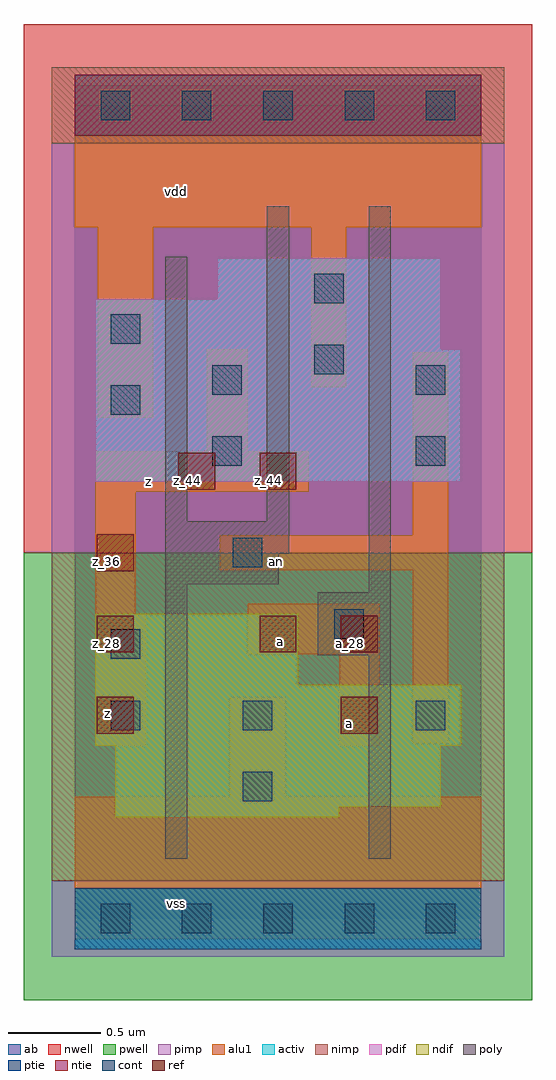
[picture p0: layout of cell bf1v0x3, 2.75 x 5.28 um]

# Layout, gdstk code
import gdstk
lib = gdstk.Library(unit=1e-6, precision=2.5e-09)
def R(c, l, rs):  # rectangles x0, y0, x1, y1
    for r in rs: c.add(gdstk.rectangle(r[:2], r[2:], *l))
def A(c, l, x, y, w, h, nx, ny, dx, dy):  # array of equal rectangles
    R(c, l, [(x+i*dx, y+j*dy, x+i*dx+w, y+j*dy+h) for i in range(nx) for j in range(ny)])
ndif = (3, 0)
pdif = (4, 0)
ntie = (5, 0)
ptie = (6, 0)
ref = (24, 0)
cont = (25, 0)
pwell = (41, 0)
nwell = (42, 0)
activ = (43, 0)
pimp = (44, 0)
nimp = (45, 0)
poly = (46, 0)
alu1 = (49, 0)
ab = (63, 0)

bf1v0x3 = lib.new_cell('bf1v0x3')
R(bf1v0x3, ndif, [(0.22,0.55,1.43,0.605), (0.22,0.605,1.98,0.935), (0.11,0.935,2.09,1.265), (0.11,1.265,1.21,1.65)])
R(bf1v0x3, pdif, [(0.11,2.365,2.09,3.08), (0.11,3.08,1.98,3.355), (0.77,3.355,1.98,3.575)])
R(bf1v0x3, ntie, [(0,4.235,2.2,4.565)])
R(bf1v0x3, ptie, [(0,-0.165,2.2,0.165)])
A(bf1v0x3, ref, 0.12, 1, 0.2, 0.2, 1, 3, 0, 0.44)
R(bf1v0x3, ref, [(1.44,1,1.64,1.2), (1,1.44,1.2,1.64), (1.44,1.44,1.64,1.64), (0.56,2.32,0.76,2.52), (1,2.32,1.2,2.52)])
A(bf1v0x3, cont, 0.14, -0.08, 0.16, 0.16, 5, 2, 0.44, 4.4)
R(bf1v0x3, cont, [(0.91,0.635,1.07,0.795), (0.195,1.02,0.355,1.18), (0.91,1.02,1.07,1.18), (1.845,1.02,2.005,1.18), (0.195,1.405,0.355,1.565), (1.405,1.515,1.565,1.675), (0.855,1.9,1.015,2.06), (0.745,2.45,0.905,2.61), (1.845,2.45,2.005,2.61), (0.195,2.725,0.355,2.885), (0.745,2.835,0.905,2.995), (1.845,2.835,2.005,2.995), (1.295,2.945,1.455,3.105), (0.195,3.11,0.355,3.27), (1.295,3.33,1.455,3.49)])
R(bf1v0x3, pwell, [(-0.275,-0.44,2.475,1.98)])
R(bf1v0x3, nwell, [(-0.275,1.98,2.475,4.84)])
R(bf1v0x3, activ, [(0,-0.165,2.2,0.165), (0.22,0.55,1.43,0.605), (0.22,0.605,1.98,0.935), (0.11,0.935,2.09,1.265), (0.11,1.265,1.21,1.65), (0.11,2.365,2.09,3.08), (0.11,3.08,1.98,3.355), (0.77,3.355,1.98,3.575), (0,4.235,2.2,4.565)])
R(bf1v0x3, pimp, [(-0.125,-0.205,2.325,0.205), (-0.125,1.98,2.325,4.195)])
R(bf1v0x3, nimp, [(-0.125,0.205,2.325,1.98), (-0.125,4.195,2.325,4.605)])
R(bf1v0x3, poly, [(0.49,0.325,0.61,1.81), (1.59,0.325,1.71,1.425), (1.315,1.425,1.71,1.765), (1.59,1.765,1.71,3.855), (0.49,1.81,1.105,1.975), (0.49,1.975,1.16,2.15), (0.49,2.15,0.61,3.58), (1.04,2.15,1.16,3.855)])
R(bf1v0x3, alu1, [(0,-0.11,2.2,0.66), (0.84,0.66,1.14,1.195), (0.11,0.935,0.385,1.65), (1.43,0.935,1.65,1.43), (1.83,0.95,2.02,1.885), (0.935,1.43,1.65,1.705), (0.11,1.65,0.33,2.31), (0.785,1.885,2.02,2.075), (1.83,2.075,2.02,3.065), (0.11,2.31,1.265,2.53), (0.715,2.53,0.935,3.08), (0.125,2.71,0.425,3.74), (1.28,2.875,1.47,3.74), (0,3.74,2.2,4.51)])
R(bf1v0x3, ab, [(0,0,2.2,4.4)])
bf1v0x3.add(gdstk.Label('vss', (0.55,0.0825), layer=49, texttype=0))
bf1v0x3.add(gdstk.Label('a', (1.485,1.0575), layer=49, texttype=0))
bf1v0x3.add(gdstk.Label('a', (1.1125,1.4975), layer=49, texttype=0))
bf1v0x3.add(gdstk.Label('z', (0.1775,1.1125), layer=49, texttype=0))
bf1v0x3.add(gdstk.Label('an', (1.0925,1.9325), layer=49, texttype=0))
bf1v0x3.add(gdstk.Label('z', (0.3975,2.365), layer=49, texttype=0))
bf1v0x3.add(gdstk.Label('vdd', (0.55,3.9325), layer=49, texttype=0))
bf1v0x3.add(gdstk.Label('z_36', (0.17,1.93), layer=24, texttype=0))
bf1v0x3.add(gdstk.Label('z_28', (0.17,1.49), layer=24, texttype=0))
bf1v0x3.add(gdstk.Label('z_20', (0.17,1.05), layer=24, texttype=0))
bf1v0x3.add(gdstk.Label('a_28', (1.49,1.49), layer=24, texttype=0))
bf1v0x3.add(gdstk.Label('a_20', (1.49,1.05), layer=24, texttype=0))
bf1v0x3.add(gdstk.Label('z_44', (1.05,2.37), layer=24, texttype=0))
bf1v0x3.add(gdstk.Label('a_28', (1.05,1.49), layer=24, texttype=0))
bf1v0x3.add(gdstk.Label('z_44', (0.61,2.37), layer=24, texttype=0))

lib.write_gds('bf1v0x3.gds')
